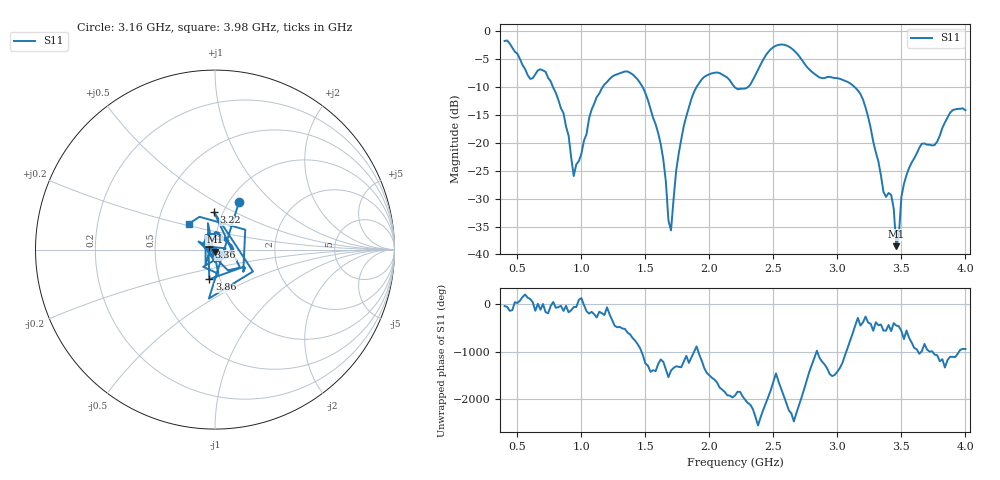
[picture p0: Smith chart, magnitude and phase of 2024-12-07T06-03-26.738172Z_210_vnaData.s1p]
!Created with skrf (http://scikit-rf.org).
# Hz S RI R 50.0
!freq ReS11 ImS11
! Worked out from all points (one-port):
!   181 points, 400 MHz to 4 GHz, reference 50 ohm
!   lowest |S11| = -38.5 dB at 3.46 GHz (marker M1), VSWR 1.02, Z = 49.8 - j1.17 ohm
!   |S11| at or under -10 dB: 778.1 MHz to 1.166 GHz (387.7 MHz wide, 39.9 % of centre); 1.479 GHz to 1.899 GHz (419.7 MHz wide, 24.8 % of centre); 3.135 GHz to end of sweep (the widest 3 of 4)
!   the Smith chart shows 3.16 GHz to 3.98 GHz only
!   S11 on the Smith chart (normalised r, x): 3.16 GHz: 1.11, +0.64; 3.22 GHz: 0.91, +0.39; 3.36 GHz: 0.94, +0.03; 3.86 GHz: 0.89, -0.30; 3.98 GHz: 0.72, +0.22
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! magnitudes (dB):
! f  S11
! 400 MHz  -1.7
! 600 MHz  -8.5
! 720 MHz  -7.2
! 860 MHz  -14.7
! 940 MHz  -25.9
! 1.12 GHz  -11.8
! 1.3 GHz  -7.5
! 1.52 GHz  -12.3
! 1.62 GHz  -20.3
! 1.7 GHz  -35.7
! 1.76 GHz  -21.9
! 1.86 GHz  -12.0
! 1.94 GHz  -8.6
! 2.2 GHz  -10.1
! 2.5 GHz  -2.8
! 2.66 GHz  -3.4
! 3.1 GHz  -9.3
! 3.16 GHz  -10.6
! 3.22 GHz  -13.7
! 3.36 GHz  -28.8
! 3.42 GHz  -29.3
! 3.46 GHz  -38.5
! 3.48 GHz  -36.6
! 3.5 GHz  -29.7
! 3.56 GHz  -24.5
! 3.86 GHz  -15.5
! 3.98 GHz  -13.8
! 4 GHz  -14.1
